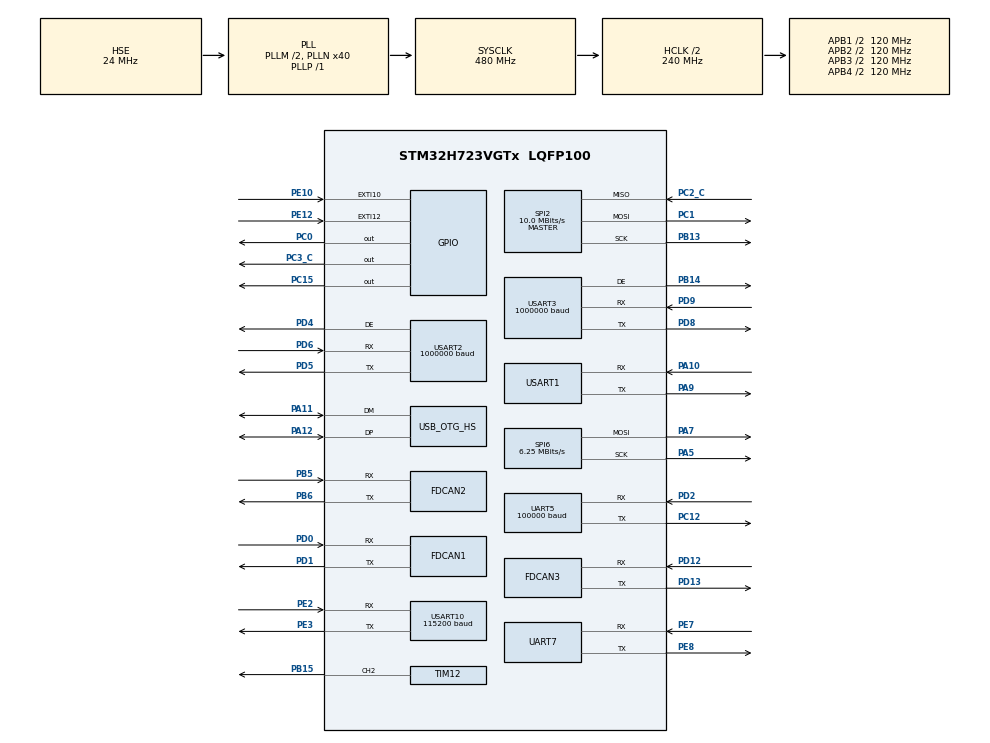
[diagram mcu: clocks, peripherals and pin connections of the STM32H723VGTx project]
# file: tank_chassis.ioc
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CORTEX_M7.CPU_ICache=Enabled
CORTEX_M7.Enable_Spec=MPU_REGION_ENABLE
CORTEX_M7.MPU_Control=__NULL
CORTEX_M7.default_mode_Activation=1
Dma.Request0=UART5_RX
Dma.Request1=UART7_RX
Dma.Request10=USART3_TX
Dma.Request11=SPI2_RX
Dma.Request12=SPI2_TX
Dma.Request2=UART7_TX
Dma.Request3=USART1_RX
Dma.Request4=USART1_TX
Dma.Request5=USART10_RX
Dma.Request6=USART10_TX
Dma.Request7=USART2_RX
Dma.Request8=USART2_TX
Dma.Request9=USART3_RX
Dma.SPI2_RX.11.Direction=DMA_PERIPH_TO_MEMORY
Dma.SPI2_RX.11.EventEnable=DISABLE
Dma.SPI2_RX.11.FIFOMode=DMA_FIFOMODE_DISABLE
Dma.SPI2_RX.11.Instance=DMA2_Stream3
Dma.SPI2_RX.11.MemDataAlignment=DMA_MDATAALIGN_BYTE
Dma.SPI2_RX.11.MemInc=DMA_MINC_ENABLE
Dma.SPI2_RX.11.Mode=DMA_NORMAL
Dma.SPI2_RX.11.PeriphDataAlignment=DMA_PDATAALIGN_BYTE
Dma.SPI2_RX.11.PeriphInc=DMA_PINC_DISABLE
Dma.SPI2_RX.11.Polarity=HAL_DMAMUX_REQ_GEN_RISING
Dma.SPI2_RX.11.Priority=DMA_PRIORITY_LOW
Dma.SPI2_RX.11.RequestNumber=1
Dma.SPI2_RX.11.SignalID=NONE
Dma.SPI2_RX.11.SyncEnable=DISABLE
Dma.SPI2_RX.11.SyncPolarity=HAL_DMAMUX_SYNC_NO_EVENT
Dma.SPI2_RX.11.SyncRequestNumber=1
Dma.SPI2_RX.11.SyncSignalID=NONE
Dma.SPI2_TX.12.Direction=DMA_MEMORY_TO_PERIPH
Dma.SPI2_TX.12.EventEnable=DISABLE
Dma.SPI2_TX.12.FIFOMode=DMA_FIFOMODE_DISABLE
Dma.SPI2_TX.12.Instance=DMA2_Stream4
Dma.SPI2_TX.12.MemDataAlignment=DMA_MDATAALIGN_BYTE
Dma.SPI2_TX.12.MemInc=DMA_MINC_ENABLE
Dma.SPI2_TX.12.Mode=DMA_NORMAL
Dma.SPI2_TX.12.PeriphDataAlignment=DMA_PDATAALIGN_BYTE
Dma.SPI2_TX.12.PeriphInc=DMA_PINC_DISABLE
Dma.SPI2_TX.12.Polarity=HAL_DMAMUX_REQ_GEN_RISING
Dma.SPI2_TX.12.Priority=DMA_PRIORITY_LOW
Dma.SPI2_TX.12.RequestNumber=1
Dma.SPI2_TX.12.SignalID=NONE
Dma.SPI2_TX.12.SyncEnable=DISABLE
Dma.SPI2_TX.12.SyncPolarity=HAL_DMAMUX_SYNC_NO_EVENT
Dma.SPI2_TX.12.SyncRequestNumber=1
Dma.SPI2_TX.12.SyncSignalID=NONE
Dma.UART5_RX.0.Direction=DMA_PERIPH_TO_MEMORY
Dma.UART5_RX.0.EventEnable=DISABLE
Dma.UART5_RX.0.FIFOMode=DMA_FIFOMODE_DISABLE
Dma.UART5_RX.0.Instance=DMA1_Stream0
Dma.UART5_RX.0.MemDataAlignment=DMA_MDATAALIGN_BYTE
Dma.UART5_RX.0.MemInc=DMA_MINC_ENABLE
Dma.UART5_RX.0.Mode=DMA_NORMAL
Dma.UART5_RX.0.PeriphDataAlignment=DMA_PDATAALIGN_BYTE
Dma.UART5_RX.0.PeriphInc=DMA_PINC_DISABLE
Dma.UART5_RX.0.Polarity=HAL_DMAMUX_REQ_GEN_RISING
Dma.UART5_RX.0.Priority=DMA_PRIORITY_LOW
Dma.UART5_RX.0.RequestNumber=1
Dma.UART5_RX.0.SignalID=NONE
Dma.UART5_RX.0.SyncEnable=DISABLE
Dma.UART5_RX.0.SyncPolarity=HAL_DMAMUX_SYNC_NO_EVENT
Dma.UART5_RX.0.SyncRequestNumber=1
Dma.UART5_RX.0.SyncSignalID=NONE
Dma.UART7_RX.1.Direction=DMA_PERIPH_TO_MEMORY
Dma.UART7_RX.1.EventEnable=DISABLE
Dma.UART7_RX.1.FIFOMode=DMA_FIFOMODE_DISABLE
Dma.UART7_RX.1.Instance=DMA1_Stream1
Dma.UART7_RX.1.MemDataAlignment=DMA_MDATAALIGN_BYTE
Dma.UART7_RX.1.MemInc=DMA_MINC_ENABLE
Dma.UART7_RX.1.Mode=DMA_NORMAL
Dma.UART7_RX.1.PeriphDataAlignment=DMA_PDATAALIGN_BYTE
Dma.UART7_RX.1.PeriphInc=DMA_PINC_DISABLE
Dma.UART7_RX.1.Polarity=HAL_DMAMUX_REQ_GEN_RISING
Dma.UART7_RX.1.Priority=DMA_PRIORITY_LOW
Dma.UART7_RX.1.RequestNumber=1
Dma.UART7_RX.1.SignalID=NONE
Dma.UART7_RX.1.SyncEnable=DISABLE
Dma.UART7_RX.1.SyncPolarity=HAL_DMAMUX_SYNC_NO_EVENT
Dma.UART7_RX.1.SyncRequestNumber=1
Dma.UART7_RX.1.SyncSignalID=NONE
Dma.UART7_TX.2.Direction=DMA_MEMORY_TO_PERIPH
Dma.UART7_TX.2.EventEnable=DISABLE
Dma.UART7_TX.2.FIFOMode=DMA_FIFOMODE_DISABLE
Dma.UART7_TX.2.Instance=DMA1_Stream2
Dma.UART7_TX.2.MemDataAlignment=DMA_MDATAALIGN_BYTE
Dma.UART7_TX.2.MemInc=DMA_MINC_ENABLE
Dma.UART7_TX.2.Mode=DMA_NORMAL
Dma.UART7_TX.2.PeriphDataAlignment=DMA_PDATAALIGN_BYTE
Dma.UART7_TX.2.PeriphInc=DMA_PINC_DISABLE
Dma.UART7_TX.2.Polarity=HAL_DMAMUX_REQ_GEN_RISING
Dma.UART7_TX.2.Priority=DMA_PRIORITY_LOW
Dma.UART7_TX.2.RequestNumber=1
Dma.UART7_TX.2.SignalID=NONE
Dma.UART7_TX.2.SyncEnable=DISABLE
Dma.UART7_TX.2.SyncPolarity=HAL_DMAMUX_SYNC_NO_EVENT
Dma.UART7_TX.2.SyncRequestNumber=1
Dma.UART7_TX.2.SyncSignalID=NONE
Dma.USART10_RX.5.Direction=DMA_PERIPH_TO_MEMORY
Dma.USART10_RX.5.EventEnable=DISABLE
Dma.USART10_RX.5.FIFOMode=DMA_FIFOMODE_DISABLE
Dma.USART10_RX.5.Instance=DMA1_Stream5
Dma.USART10_RX.5.MemDataAlignment=DMA_MDATAALIGN_BYTE
Dma.USART10_RX.5.MemInc=DMA_MINC_ENABLE
Dma.USART10_RX.5.Mode=DMA_NORMAL
Dma.USART10_RX.5.PeriphDataAlignment=DMA_PDATAALIGN_BYTE
Dma.USART10_RX.5.PeriphInc=DMA_PINC_DISABLE
Dma.USART10_RX.5.Polarity=HAL_DMAMUX_REQ_GEN_RISING
Dma.USART10_RX.5.Priority=DMA_PRIORITY_LOW
Dma.USART10_RX.5.RequestNumber=1
Dma.USART10_RX.5.SignalID=NONE
Dma.USART10_RX.5.SyncEnable=DISABLE
Dma.USART10_RX.5.SyncPolarity=HAL_DMAMUX_SYNC_NO_EVENT
Dma.USART10_RX.5.SyncRequestNumber=1
Dma.USART10_RX.5.SyncSignalID=NONE
Dma.USART10_TX.6.Direction=DMA_MEMORY_TO_PERIPH
Dma.USART10_TX.6.EventEnable=DISABLE
Dma.USART10_TX.6.FIFOMode=DMA_FIFOMODE_DISABLE
Dma.USART10_TX.6.Instance=DMA1_Stream6
Dma.USART10_TX.6.MemDataAlignment=DMA_MDATAALIGN_BYTE
Dma.USART10_TX.6.MemInc=DMA_MINC_ENABLE
Dma.USART10_TX.6.Mode=DMA_NORMAL
Dma.USART10_TX.6.PeriphDataAlignment=DMA_PDATAALIGN_BYTE
Dma.USART10_TX.6.PeriphInc=DMA_PINC_DISABLE
Dma.USART10_TX.6.Polarity=HAL_DMAMUX_REQ_GEN_RISING
Dma.USART10_TX.6.Priority=DMA_PRIORITY_LOW
Dma.USART10_TX.6.RequestNumber=1
Dma.USART10_TX.6.SignalID=NONE
Dma.USART10_TX.6.SyncEnable=DISABLE
Dma.USART10_TX.6.SyncPolarity=HAL_DMAMUX_SYNC_NO_EVENT
Dma.USART10_TX.6.SyncRequestNumber=1
Dma.USART10_TX.6.SyncSignalID=NONE
Dma.USART1_RX.3.Direction=DMA_PERIPH_TO_MEMORY
Dma.USART1_RX.3.EventEnable=DISABLE
Dma.USART1_RX.3.FIFOMode=DMA_FIFOMODE_DISABLE
Dma.USART1_RX.3.Instance=DMA1_Stream3
Dma.USART1_RX.3.MemDataAlignment=DMA_MDATAALIGN_BYTE
Dma.USART1_RX.3.MemInc=DMA_MINC_ENABLE
Dma.USART1_RX.3.Mode=DMA_NORMAL
Dma.USART1_RX.3.PeriphDataAlignment=DMA_PDATAALIGN_BYTE
Dma.USART1_RX.3.PeriphInc=DMA_PINC_DISABLE
Dma.USART1_RX.3.Polarity=HAL_DMAMUX_REQ_GEN_RISING
Dma.USART1_RX.3.Priority=DMA_PRIORITY_LOW
Dma.USART1_RX.3.RequestNumber=1
Dma.USART1_RX.3.SignalID=NONE
Dma.USART1_RX.3.SyncEnable=DISABLE
Dma.USART1_RX.3.SyncPolarity=HAL_DMAMUX_SYNC_NO_EVENT
Dma.USART1_RX.3.SyncRequestNumber=1
Dma.USART1_RX.3.SyncSignalID=NONE
Dma.USART1_TX.4.Direction=DMA_MEMORY_TO_PERIPH
Dma.USART1_TX.4.EventEnable=DISABLE
Dma.USART1_TX.4.FIFOMode=DMA_FIFOMODE_DISABLE
Dma.USART1_TX.4.Instance=DMA1_Stream4
Dma.USART1_TX.4.MemDataAlignment=DMA_MDATAALIGN_BYTE
Dma.USART1_TX.4.MemInc=DMA_MINC_ENABLE
Dma.USART1_TX.4.Mode=DMA_NORMAL
Dma.USART1_TX.4.PeriphDataAlignment=DMA_PDATAALIGN_BYTE
Dma.USART1_TX.4.PeriphInc=DMA_PINC_DISABLE
Dma.USART1_TX.4.Polarity=HAL_DMAMUX_REQ_GEN_RISING
Dma.USART1_TX.4.Priority=DMA_PRIORITY_LOW
Dma.USART1_TX.4.RequestNumber=1
Dma.USART1_TX.4.SignalID=NONE
Dma.USART1_TX.4.SyncEnable=DISABLE
Dma.USART1_TX.4.SyncPolarity=HAL_DMAMUX_SYNC_NO_EVENT
Dma.USART1_TX.4.SyncRequestNumber=1
Dma.USART1_TX.4.SyncSignalID=NONE
Dma.USART2_RX.7.Direction=DMA_PERIPH_TO_MEMORY
Dma.USART2_RX.7.EventEnable=DISABLE
Dma.USART2_RX.7.FIFOMode=DMA_FIFOMODE_DISABLE
Dma.USART2_RX.7.Instance=DMA1_Stream7
Dma.USART2_RX.7.MemDataAlignment=DMA_MDATAALIGN_BYTE
Dma.USART2_RX.7.MemInc=DMA_MINC_ENABLE
Dma.USART2_RX.7.Mode=DMA_NORMAL
Dma.USART2_RX.7.PeriphDataAlignment=DMA_PDATAALIGN_BYTE
Dma.USART2_RX.7.PeriphInc=DMA_PINC_DISABLE
Dma.USART2_RX.7.Polarity=HAL_DMAMUX_REQ_GEN_RISING
Dma.USART2_RX.7.Priority=DMA_PRIORITY_LOW
Dma.USART2_RX.7.RequestNumber=1
Dma.USART2_RX.7.SignalID=NONE
Dma.USART2_RX.7.SyncEnable=DISABLE
Dma.USART2_RX.7.SyncPolarity=HAL_DMAMUX_SYNC_NO_EVENT
Dma.USART2_RX.7.SyncRequestNumber=1
Dma.USART2_RX.7.SyncSignalID=NONE
Dma.USART2_TX.8.Direction=DMA_MEMORY_TO_PERIPH
Dma.USART2_TX.8.EventEnable=DISABLE
Dma.USART2_TX.8.FIFOMode=DMA_FIFOMODE_DISABLE
Dma.USART2_TX.8.Instance=DMA2_Stream0
Dma.USART2_TX.8.MemDataAlignment=DMA_MDATAALIGN_BYTE
Dma.USART2_TX.8.MemInc=DMA_MINC_ENABLE
Dma.USART2_TX.8.Mode=DMA_NORMAL
Dma.USART2_TX.8.PeriphDataAlignment=DMA_PDATAALIGN_BYTE
Dma.USART2_TX.8.PeriphInc=DMA_PINC_DISABLE
Dma.USART2_TX.8.Polarity=HAL_DMAMUX_REQ_GEN_RISING
Dma.USART2_TX.8.Priority=DMA_PRIORITY_LOW
Dma.USART2_TX.8.RequestNumber=1
Dma.USART2_TX.8.SignalID=NONE
Dma.USART2_TX.8.SyncEnable=DISABLE
Dma.USART2_TX.8.SyncPolarity=HAL_DMAMUX_SYNC_NO_EVENT
Dma.USART2_TX.8.SyncRequestNumber=1
Dma.USART2_TX.8.SyncSignalID=NONE
Dma.USART3_RX.9.Direction=DMA_PERIPH_TO_MEMORY
Dma.USART3_RX.9.EventEnable=DISABLE
Dma.USART3_RX.9.FIFOMode=DMA_FIFOMODE_DISABLE
Dma.USART3_RX.9.Instance=DMA2_Stream1
Dma.USART3_RX.9.MemDataAlignment=DMA_MDATAALIGN_BYTE
Dma.USART3_RX.9.MemInc=DMA_MINC_ENABLE
Dma.USART3_RX.9.Mode=DMA_NORMAL
Dma.USART3_RX.9.PeriphDataAlignment=DMA_PDATAALIGN_BYTE
Dma.USART3_RX.9.PeriphInc=DMA_PINC_DISABLE
Dma.USART3_RX.9.Polarity=HAL_DMAMUX_REQ_GEN_RISING
Dma.USART3_RX.9.Priority=DMA_PRIORITY_LOW
Dma.USART3_RX.9.RequestNumber=1
Dma.USART3_RX.9.SignalID=NONE
Dma.USART3_RX.9.SyncEnable=DISABLE
Dma.USART3_RX.9.SyncPolarity=HAL_DMAMUX_SYNC_NO_EVENT
Dma.USART3_RX.9.SyncRequestNumber=1
Dma.USART3_RX.9.SyncSignalID=NONE
Dma.USART3_TX.10.Direction=DMA_MEMORY_TO_PERIPH
Dma.USART3_TX.10.EventEnable=DISABLE
Dma.USART3_TX.10.FIFOMode=DMA_FIFOMODE_DISABLE
Dma.USART3_TX.10.Instance=DMA2_Stream2
Dma.USART3_TX.10.MemDataAlignment=DMA_MDATAALIGN_BYTE
Dma.USART3_TX.10.MemInc=DMA_MINC_ENABLE
Dma.USART3_TX.10.Mode=DMA_NORMAL
Dma.USART3_TX.10.PeriphDataAlignment=DMA_PDATAALIGN_BYTE
Dma.USART3_TX.10.PeriphInc=DMA_PINC_DISABLE
Dma.USART3_TX.10.Polarity=HAL_DMAMUX_REQ_GEN_RISING
Dma.USART3_TX.10.Priority=DMA_PRIORITY_LOW
Dma.USART3_TX.10.RequestNumber=1
Dma.USART3_TX.10.SignalID=NONE
Dma.USART3_TX.10.SyncEnable=DISABLE
Dma.USART3_TX.10.SyncPolarity=HAL_DMAMUX_SYNC_NO_EVENT
Dma.USART3_TX.10.SyncRequestNumber=1
Dma.USART3_TX.10.SyncSignalID=NONE
FDCAN1.AutoRetransmission=ENABLE
FDCAN1.CalculateBaudRateNominal=1000000
FDCAN1.CalculateTimeBitNominal=1000
FDCAN1.CalculateTimeQuantumNominal=25.0
FDCAN1.DataPrescaler=3
FDCAN1.DataSyncJumpWidth=10
FDCAN1.DataTimeSeg1=29
FDCAN1.DataTimeSeg2=10
FDCAN1.NominalPrescaler=3
FDCAN1.NominalSyncJumpWidth=10
FDCAN1.NominalTimeSeg1=29
FDCAN1.NominalTimeSeg2=10
FDCAN1.RxFifo0ElmtsNbr=16
FDCAN1.StdFiltersNbr=1
FDCAN1.TxFifoQueueElmtsNbr=8
FDCAN2.AutoRetransmission=ENABLE
FDCAN2.CalculateBaudRateNominal=1000000
FDCAN2.CalculateTimeBitNominal=1000
FDCAN2.CalculateTimeQuantumNominal=25.0
FDCAN2.DataPrescaler=3
FDCAN2.DataSyncJumpWidth=10
FDCAN2.DataTimeSeg1=29
FDCAN2.DataTimeSeg2=10
FDCAN2.MessageRAMOffset=853
FDCAN2.NominalPrescaler=3
FDCAN2.NominalSyncJumpWidth=10
FDCAN2.NominalTimeSeg1=29
FDCAN2.NominalTimeSeg2=10
FDCAN2.RxFifo0ElmtsNbr=16
FDCAN2.StdFiltersNbr=1
FDCAN2.TxFifoQueueElmtsNbr=8
FDCAN3.AutoRetransmission=ENABLE
FDCAN3.CalculateBaudRateNominal=1000000
FDCAN3.CalculateTimeBitNominal=1000
FDCAN3.CalculateTimeQuantumNominal=25.0
FDCAN3.DataPrescaler=3
FDCAN3.DataSyncJumpWidth=10
FDCAN3.DataTimeSeg1=29
FDCAN3.DataTimeSeg2=10
FDCAN3.MessageRAMOffset=1706
FDCAN3.NominalPrescaler=3
FDCAN3.NominalSyncJumpWidth=10
FDCAN3.NominalTimeSeg1=29
FDCAN3.NominalTimeSeg2=10
FDCAN3.RxFifo0ElmtsNbr=16
FDCAN3.StdFiltersNbr=1
FDCAN3.TxFifoQueueElmtsNbr=8
FREERTOS.Tasks01=defaultTask,24,128,StartDefaultTask,Default,NULL,Dynamic,NULL,NULL
FREERTOS.configTOTAL_HEAP_SIZE=32768
Mcu.Family=STM32H7
Mcu.Name=STM32H723VGTx
Mcu.Package=LQFP100
NVIC.DMA1_Stream0_IRQn=true\:5\:0\:false\:false\:true\:true\:false\:true\:true
NVIC.DMA1_Stream1_IRQn=true\:5\:0\:false\:false\:true\:true\:false\:true\:true
NVIC.DMA1_Stream2_IRQn=true\:5\:0\:false\:false\:true\:true\:false\:true\:true
NVIC.DMA1_Stream3_IRQn=true\:5\:0\:false\:false\:true\:true\:false\:true\:true
NVIC.DMA1_Stream4_IRQn=true\:5\:0\:false\:false\:true\:true\:false\:true\:true
NVIC.DMA1_Stream5_IRQn=true\:5\:0\:false\:false\:true\:true\:false\:true\:true
NVIC.DMA1_Stream6_IRQn=true\:5\:0\:false\:false\:true\:true\:false\:true\:true
NVIC.DMA1_Stream7_IRQn=true\:5\:0\:false\:false\:true\:true\:false\:true\:true
NVIC.DMA2_Stream0_IRQn=true\:5\:0\:false\:false\:true\:true\:false\:true\:true
NVIC.DMA2_Stream1_IRQn=true\:5\:0\:false\:false\:true\:true\:false\:true\:true
NVIC.DMA2_Stream2_IRQn=true\:5\:0\:false\:false\:true\:true\:false\:true\:true
NVIC.DMA2_Stream3_IRQn=true\:5\:0\:false\:false\:true\:true\:false\:true\:true
NVIC.DMA2_Stream4_IRQn=true\:5\:0\:false\:false\:true\:true\:false\:true\:true
NVIC.EXTI15_10_IRQn=true\:5\:0\:false\:false\:true\:true\:true\:true\:true
NVIC.FDCAN1_IT0_IRQn=true\:5\:0\:false\:false\:true\:true\:true\:true\:true
NVIC.FDCAN1_IT1_IRQn=true\:5\:0\:false\:false\:true\:true\:true\:true\:true
NVIC.FDCAN2_IT0_IRQn=true\:5\:0\:false\:false\:true\:true\:true\:true\:true
NVIC.FDCAN2_IT1_IRQn=true\:5\:0\:false\:false\:true\:true\:true\:true\:true
NVIC.FDCAN3_IT0_IRQn=true\:5\:0\:false\:false\:true\:true\:true\:true\:true
NVIC.FDCAN3_IT1_IRQn=true\:5\:0\:false\:false\:true\:true\:true\:true\:true
NVIC.OTG_HS_IRQn=true\:5\:0\:false\:false\:true\:true\:false\:true\:true
NVIC.PriorityGroup=NVIC_PRIORITYGROUP_4
NVIC.SPI2_IRQn=true\:5\:0\:false\:false\:true\:true\:false\:true\:true
NVIC.SPI6_IRQn=true\:5\:0\:false\:false\:true\:true\:true\:true\:true
NVIC.TIM23_IRQn=true\:15\:0\:false\:false\:true\:false\:false\:true\:true
NVIC.TimeBase=TIM23_IRQn
NVIC.TimeBaseIP=TIM23
NVIC.UART5_IRQn=true\:5\:0\:false\:false\:true\:true\:true\:true\:true
NVIC.UART7_IRQn=true\:5\:0\:false\:false\:true\:true\:true\:true\:true
NVIC.USART10_IRQn=true\:5\:0\:false\:false\:true\:true\:true\:true\:true
NVIC.USART1_IRQn=true\:5\:0\:false\:false\:true\:true\:true\:true\:true
NVIC.USART2_IRQn=true\:5\:0\:false\:false\:true\:true\:true\:true\:true
NVIC.USART3_IRQn=true\:5\:0\:false\:false\:true\:true\:true\:true\:true
PA10.Mode=Asynchronous
PA10.Signal=USART1_RX
PA11.Mode=Device_Only_FS
PA11.Signal=USB_OTG_HS_DM
PA12.Mode=Device_Only_FS
PA12.Signal=USB_OTG_HS_DP
PA13(JTMS/SWDIO).Mode=Serial_Wire
PA13(JTMS/SWDIO).Signal=DEBUG_JTMS-SWDIO
PA14(JTCK/SWCLK).Mode=Serial_Wire
PA14(JTCK/SWCLK).Signal=DEBUG_JTCK-SWCLK
PA5.GPIO_Speed=GPIO_SPEED_FREQ_VERY_HIGH
PA5.Mode=TX_Only_Simplex_Unidirect_Master
PA5.Signal=SPI6_SCK
PA7.GPIO_PuPd=GPIO_PULLDOWN
PA7.GPIO_Speed=GPIO_SPEED_FREQ_VERY_HIGH
PA7.Mode=TX_Only_Simplex_Unidirect_Master
PA7.Signal=SPI6_MOSI
PA9.Mode=Asynchronous
PA9.Signal=USART1_TX
PB13.GPIO_Speed=GPIO_SPEED_FREQ_VERY_HIGH
PB13.Mode=Full_Duplex_Master
PB13.Signal=SPI2_SCK
PB14.Mode=Hardware Flow Control (RS485)
PB14.Signal=USART3_DE
PB15.Signal=S_TIM12_CH2
PB5.Mode=FDCAN_Activate
PB5.Signal=FDCAN2_RX
PB6.Mode=FDCAN_Activate
PB6.Signal=FDCAN2_TX
PC0.GPIO_Speed=GPIO_SPEED_FREQ_VERY_HIGH
PC0.PinState=GPIO_PIN_SET
PC0.Signal=GPIO_Output
PC1.GPIO_Speed=GPIO_SPEED_FREQ_VERY_HIGH
PC1.Mode=Full_Duplex_Master
PC1.Signal=SPI2_MOSI
PC12.Mode=Asynchronous
PC12.Signal=UART5_TX
PC15-OSC32_OUT.Signal=GPIO_Output
PC2_C.GPIO_Speed=GPIO_SPEED_FREQ_VERY_HIGH
PC2_C.Mode=Full_Duplex_Master
PC2_C.Signal=SPI2_MISO
PC3_C.GPIO_Speed=GPIO_SPEED_FREQ_VERY_HIGH
PC3_C.PinState=GPIO_PIN_SET
PC3_C.Signal=GPIO_Output
PD0.Mode=FDCAN_Activate
PD0.Signal=FDCAN1_RX
PD1.Mode=FDCAN_Activate
PD1.Signal=FDCAN1_TX
PD12.Mode=FDCAN_Activate
PD12.Signal=FDCAN3_RX
PD13.Mode=FDCAN_Activate
PD13.Signal=FDCAN3_TX
PD2.Mode=Asynchronous
PD2.Signal=UART5_RX
PD4.Mode=Hardware Flow Control (RS485)
PD4.Signal=USART2_DE
PD5.Mode=Asynchronous
PD5.Signal=USART2_TX
PD6.Mode=Asynchronous
PD6.Signal=USART2_RX
PD8.Mode=Asynchronous
PD8.Signal=USART3_TX
PD9.Mode=Asynchronous
PD9.Signal=USART3_RX
PE10.Signal=GPXTI10
PE12.Signal=GPXTI12
PE2.Mode=Asynchronous
PE2.Signal=USART10_RX
PE3.Mode=Asynchronous
PE3.Signal=USART10_TX
PE7.Mode=Asynchronous
PE7.Signal=UART7_RX
PE8.Mode=Asynchronous
PE8.Signal=UART7_TX
PH0-OSC_IN.Mode=HSE-External-Oscillator
PH0-OSC_IN.Signal=RCC_OSC_IN
PH1-OSC_OUT.Mode=HSE-External-Oscillator
PH1-OSC_OUT.Signal=RCC_OSC_OUT
ProjectManager.HeapSize=0x20000
ProjectManager.StackSize=0x10000
ProjectManager.TargetToolchain=MDK-ARM V5.32
RCC.ADCFreq_Value=100000000
RCC.APB1Freq_Value=120000000
RCC.APB2Freq_Value=120000000
RCC.APB3Freq_Value=120000000
RCC.APB4Freq_Value=120000000
RCC.CKPERSourceSelection=RCC_CLKPSOURCE_HSE
RCC.CortexFreq_Value=480000000
RCC.D1PPRE=RCC_APB3_DIV2
RCC.D2PPRE1=RCC_APB1_DIV2
RCC.D2PPRE2=RCC_APB2_DIV2
RCC.D3PPRE=RCC_APB4_DIV2
RCC.DIVM1=2
RCC.DIVM2=12
RCC.DIVM3=24
RCC.DIVN1=40
RCC.DIVN2=100
RCC.DIVN3=160
RCC.DIVP1=1
RCC.DIVQ1=4
RCC.DIVQ2=4
RCC.HCLKFreq_Value=240000000
RCC.HPRE=RCC_HCLK_DIV2
RCC.HSE_VALUE=24000000
RCC.PLL2FRACN=0
RCC.PLLFRACN=0
RCC.PLLSourceVirtual=RCC_PLLSOURCE_HSE
RCC.SPI123CLockSelection=RCC_SPI123CLKSOURCE_PLL3
RCC.SPI6CLockSelection=RCC_SPI6CLKSOURCE_PLL2
RCC.SYSCLKFreq_VALUE=480000000
RCC.SYSCLKSource=RCC_SYSCLKSOURCE_PLLCLK
RCC.USBCLockSelection=RCC_USBCLKSOURCE_HSI48
RCC.USBFreq_Value=48000000
SH.S_TIM12_CH2.0=TIM12_CH2,PWM Generation2 CH2
SPI2.BaudRatePrescaler=SPI_BAUDRATEPRESCALER_8
SPI2.CLKPhase=SPI_PHASE_2EDGE
SPI2.CLKPolarity=SPI_POLARITY_HIGH
SPI2.CalculateBaudRate=10.0 MBits/s
SPI2.DataSize=SPI_DATASIZE_8BIT
SPI2.Direction=SPI_DIRECTION_2LINES
SPI2.Mode=SPI_MODE_MASTER
SPI2.VirtualType=VM_MASTER
SPI6.BaudRatePrescaler=SPI_BAUDRATEPRESCALER_8
SPI6.CalculateBaudRate=6.25 MBits/s
SPI6.DataSize=SPI_DATASIZE_8BIT
SPI6.Direction=SPI_DIRECTION_2LINES_TXONLY
SPI6.Mode=SPI_MODE_MASTER
SPI6.VirtualType=VM_MASTER
TIM12.Channel-PWM\ Generation2\ CH2=TIM_CHANNEL_2
TIM12.Period=250-1
TIM12.Prescaler=240-1
TIM12.Pulse-PWM\ Generation2\ CH2=0
UART5.BaudRate=100000
UART5.Mode=MODE_TX_RX
UART5.Parity=PARITY_EVEN
UART5.StopBits=UART_STOPBITS_2
UART5.WordLength=WORDLENGTH_9B
USART1.VirtualMode-Asynchronous=VM_ASYNC
USART10.BaudRate=115200
USART10.VirtualMode=VM_ASYNC
USART2.BaudRate=1000000
USART2.VirtualMode-Asynchronous=VM_ASYNC
USART2.VirtualMode-Hardware\ Flow\ Control\ (RS485)=VM_ASYNC
USART3.BaudRate=1000000
USART3.VirtualMode-Asynchronous=VM_ASYNC
USART3.VirtualMode-Hardware\ Flow\ Control\ (RS485)=VM_ASYNC
USB_DEVICE.CLASS_NAME_HS=CDC
USB_DEVICE.VirtualMode=Cdc
USB_DEVICE.VirtualModeHS=Cdc_HS
USB_OTG_HS.VirtualMode-Device_Only_FS=Device_Only_FS
VP_FREERTOS_VS_CMSIS_V2.Mode=CMSIS_V2
VP_MEMORYMAP_VS_MEMORYMAP.Mode=CurAppReg
VP_SYS_VS_tim23.Mode=TIM23
VP_TIM12_VS_ClockSourceINT.Mode=Internal
VP_TIM6_VS_ClockSourceINT.Mode=Enable_Timer
VP_USB_DEVICE_VS_USB_DEVICE_CDC_HS.Mode=CDC_HS
board=custom

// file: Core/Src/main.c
/* USER CODE BEGIN Header */
/**
  ******************************************************************************
  * @file           : main.c
  * @brief          : Main program body
  ******************************************************************************
  * @attention
  *
  * Copyright (c) 2026 STMicroelectronics.
  * All rights reserved.
  *
  * This software is licensed under terms that can be found in the LICENSE file
  * in the root directory of this software component.
  * If no LICENSE file comes with this software, it is provided AS-IS.
  *
  ******************************************************************************
  */
/* USER CODE END Header */
#include "main.h"
#include "cmsis_os.h"
#include "dma.h"
#include "fdcan.h"
#include "spi.h"
#include "tim.h"
#include "usart.h"
#include "usb_device.h"
#include "gpio.h"

void SystemClock_Config(void);
void MX_FREERTOS_Init(void);

/* USER CODE BEGIN 0 */
/* SPI6 初始化完成后调用，点亮板载绿色指示灯。 */
static void Board_LED_Init(void)
{
  /* SPI6 为 6.25 Mbit/s，上电初始化时发送一次低亮度绿色，灯珠自行保持常亮。 */
  uint8_t led_tx[256 + 24 + 256] = {0};
  const uint8_t led_grb[3] = {16, 0, 0}; /* WS2812 按 G、R、B 顺序接收。 */
  uint16_t led_index = 256;

  for (uint8_t color = 0; color < 3; ++color)
  {
    for (uint8_t mask = 0x80; mask != 0; mask >>= 1)
    {
      /* 每位 1.28 us：0 高电平 0.32 us，1 高电平 0.80 us。 */
      led_tx[led_index++] = (led_grb[color] & mask) ? 0xF8 : 0xC0;
    }
  }
  /* 帧前、帧后各约 328 us 低电平，用于复位和锁存颜色。 */
  if (HAL_SPI_Transmit(&hspi6, led_tx, sizeof(led_tx), 20) != HAL_OK)
  {
    Error_Handler();
  }
}

/* USER CODE END 0 */

int main(void)
{

  /* Enable the CPU Cache */

  /* Enable I-Cache---------------------------------------------------------*/
  SCB_EnableICache();

  /* MCU Configuration--------------------------------------------------------*/

  /* Reset of all peripherals, Initializes the Flash interface and the Systick. */
  HAL_Init();

  /* Configure the system clock */
  SystemClock_Config();

  /* Initialize all configured peripherals */
  MX_GPIO_Init();
  MX_DMA_Init();
  MX_FDCAN1_Init();
  MX_FDCAN2_Init();
  MX_FDCAN3_Init();
  MX_UART5_Init();
  MX_UART7_Init();
  MX_USART1_UART_Init();
  MX_USART10_UART_Init();
  MX_USART2_UART_Init();
  MX_USART3_UART_Init();
  MX_SPI2_Init();
  MX_TIM6_Init();
  MX_TIM12_Init();
  MX_SPI6_Init();
  /* USER CODE BEGIN 2 */
  Board_LED_Init();
  HAL_GPIO_WritePin(GPIOC, GPIO_PIN_15, GPIO_PIN_SET);

  /* USER CODE END 2 */

  /* Init scheduler */
  osKernelInitialize();  /* Call init function for freertos objects (in cmsis_os2.c) */
  MX_FREERTOS_Init();

  /* Start scheduler */
  osKernelStart();

  /* We should never get here as control is now taken by the scheduler */

  /* Infinite loop */
  while (1)
  {

  }
}

void SystemClock_Config(void)
{
  RCC_OscInitTypeDef RCC_OscInitStruct = {0};
  RCC_ClkInitTypeDef RCC_ClkInitStruct = {0};

  /** Supply configuration update enable
  */
  HAL_PWREx_ConfigSupply(PWR_LDO_SUPPLY);

  /** Configure the main internal regulator output voltage
  */
  __HAL_PWR_VOLTAGESCALING_CONFIG(PWR_REGULATOR_VOLTAGE_SCALE0);

  while(!__HAL_PWR_GET_FLAG(PWR_FLAG_VOSRDY)) {}

  /** Initializes the RCC Oscillators according to the specified parameters
  * in the RCC_OscInitTypeDef structure.
  */
  RCC_OscInitStruct.OscillatorType = RCC_OSCILLATORTYPE_HSI48|RCC_OSCILLATORTYPE_HSE;
  RCC_OscInitStruct.HSEState = RCC_HSE_ON;
  RCC_OscInitStruct.HSI48State = RCC_HSI48_ON;
  RCC_OscInitStruct.PLL.PLLState = RCC_PLL_ON;
  RCC_OscInitStruct.PLL.PLLSource = RCC_PLLSOURCE_HSE;
  RCC_OscInitStruct.PLL.PLLM = 2;
  RCC_OscInitStruct.PLL.PLLN = 40;
  RCC_OscInitStruct.PLL.PLLP = 1;
  RCC_OscInitStruct.PLL.PLLQ = 4;
  RCC_OscInitStruct.PLL.PLLR = 2;
  RCC_OscInitStruct.PLL.PLLRGE = RCC_PLL1VCIRANGE_3;
  RCC_OscInitStruct.PLL.PLLVCOSEL = RCC_PLL1VCOWIDE;
  RCC_OscInitStruct.PLL.PLLFRACN = 0;
  if (HAL_RCC_OscConfig(&RCC_OscInitStruct) != HAL_OK)
  {
    Error_Handler();
  }

  /** Initializes the CPU, AHB and APB buses clocks
  */
  RCC_ClkInitStruct.ClockType = RCC_CLOCKTYPE_HCLK|RCC_CLOCKTYPE_SYSCLK
                              |RCC_CLOCKTYPE_PCLK1|RCC_CLOCKTYPE_PCLK2
                              |RCC_CLOCKTYPE_D3PCLK1|RCC_CLOCKTYPE_D1PCLK1;
  RCC_ClkInitStruct.SYSCLKSource = RCC_SYSCLKSOURCE_PLLCLK;
  RCC_ClkInitStruct.SYSCLKDivider = RCC_SYSCLK_DIV1;
  RCC_ClkInitStruct.AHBCLKDivider = RCC_HCLK_DIV2;
  RCC_ClkInitStruct.APB3CLKDivider = RCC_APB3_DIV2;
  RCC_ClkInitStruct.APB1CLKDivider = RCC_APB1_DIV2;
  RCC_ClkInitStruct.APB2CLKDivider = RCC_APB2_DIV2;
  RCC_ClkInitStruct.APB4CLKDivider = RCC_APB4_DIV2;

  if (HAL_RCC_ClockConfig(&RCC_ClkInitStruct, FLASH_LATENCY_3) != HAL_OK)
  {
    Error_Handler();
  }
}

void HAL_TIM_PeriodElapsedCallback(TIM_HandleTypeDef *htim)
{
  if (htim->Instance == TIM23)
  {
    HAL_IncTick();
  }
}

void Error_Handler(void)
{
  __disable_irq();
  while (1)
  {
  }
}

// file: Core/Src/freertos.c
/* USER CODE BEGIN Header */
/**
  ******************************************************************************
  * File Name          : freertos.c
  * Description        : Code for freertos applications
  ******************************************************************************
  * @attention
  *
  * Copyright (c) 2026 STMicroelectronics.
  * All rights reserved.
  *
  * This software is licensed under terms that can be found in the LICENSE file
  * in the root directory of this software component.
  * If no LICENSE file comes with this software, it is provided AS-IS.
  *
  ******************************************************************************
  */
/* USER CODE END Header */

#include "FreeRTOS.h"
#include "task.h"
#include "main.h"
#include "cmsis_os.h"

/* USER CODE BEGIN Includes */
#include "can_send_task.hpp"
#include "up_stair.hpp"
#include "remote_task.hpp"
#include "ui_task.hpp"
#include "usb_device.h"
/* USER CODE END Includes */

/* Definitions for defaultTask */
osThreadId_t defaultTaskHandle;
const osThreadAttr_t defaultTask_attributes = {
  .name = "defaultTask",
  .stack_size = 128 * 4,
  .priority = (osPriority_t) osPriorityNormal,
};

/* USER CODE BEGIN FunctionPrototypes */
BaseType_t start_remote_control;
BaseType_t start_can_send;
BaseType_t start_up_stair;

TaskHandle_t xUpStairHandle;
TaskHandle_t xRemoteHandle;
TaskHandle_t xCanSendHandle;
TaskHandle_t xUIHandle;

extern void MX_USB_DEVICE_Init(void);

/* USER CODE END FunctionPrototypes */

void StartDefaultTask(void *argument);

extern void MX_USB_DEVICE_Init(void);
void MX_FREERTOS_Init(void); /* (MISRA C 2004 rule 8.1) */

void MX_FREERTOS_Init(void) {

  /* Create the thread(s) */
  /* creation of defaultTask */
  defaultTaskHandle = osThreadNew(StartDefaultTask, NULL, &defaultTask_attributes);

  /* USER CODE BEGIN RTOS_THREADS */
  /* add threads, ... */
  	start_can_send = xTaskCreate(can_send_task, "CAN_Send_Task", 1024, NULL, osPriorityAboveNormal, &xCanSendHandle);
  start_remote_control = xTaskCreate(remote_task, "Remote_Control_Task", 256, NULL, osPriorityAboveNormal, &xRemoteHandle);
  xTaskCreate(ui_task, "UI_Task", 256, NULL, osPriorityNormal, &xUIHandle);
  start_up_stair = xTaskCreate(up_stair_task, "Up_Stair_Task", 512, NULL, osPriorityRealtime, &xUpStairHandle);
  /* USER CODE END RTOS_THREADS */

}

void StartDefaultTask(void *argument)
{
  /* init code for USB_DEVICE */
  MX_USB_DEVICE_Init();
  /* USER CODE BEGIN StartDefaultTask */
  /* Infinite loop */
  for(;;)
  {
    osThreadExit();
  }
  /* USER CODE END StartDefaultTask */
}
